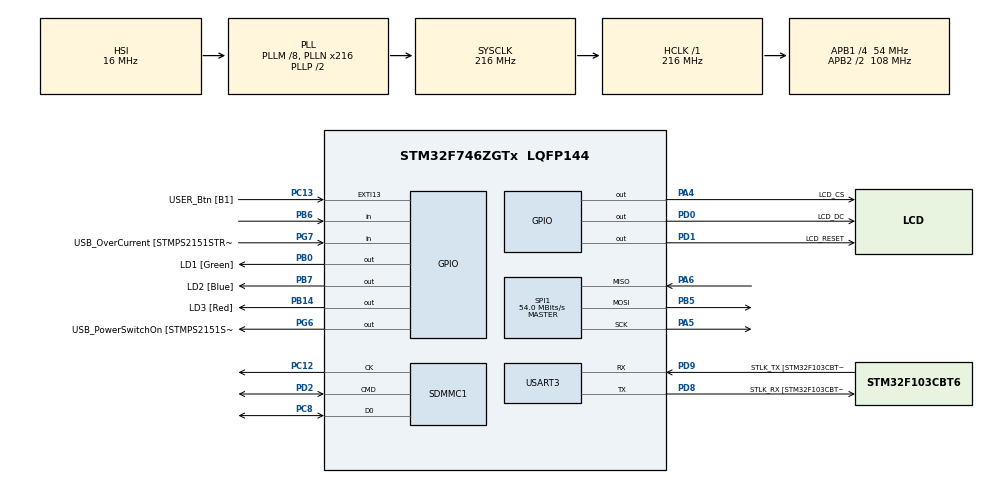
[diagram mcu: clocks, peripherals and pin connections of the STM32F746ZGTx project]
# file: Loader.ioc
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Dma.Request0=SDMMC1_RX
Dma.Request1=SDMMC1_TX
Dma.SDMMC1_RX.0.Direction=DMA_PERIPH_TO_MEMORY
Dma.SDMMC1_RX.0.FIFOMode=DMA_FIFOMODE_ENABLE
Dma.SDMMC1_RX.0.FIFOThreshold=DMA_FIFO_THRESHOLD_FULL
Dma.SDMMC1_RX.0.Instance=DMA2_Stream3
Dma.SDMMC1_RX.0.MemBurst=DMA_MBURST_INC4
Dma.SDMMC1_RX.0.MemDataAlignment=DMA_MDATAALIGN_WORD
Dma.SDMMC1_RX.0.MemInc=DMA_MINC_ENABLE
Dma.SDMMC1_RX.0.Mode=DMA_PFCTRL
Dma.SDMMC1_RX.0.PeriphBurst=DMA_PBURST_INC4
Dma.SDMMC1_RX.0.PeriphDataAlignment=DMA_PDATAALIGN_WORD
Dma.SDMMC1_RX.0.PeriphInc=DMA_PINC_DISABLE
Dma.SDMMC1_RX.0.Priority=DMA_PRIORITY_LOW
Dma.SDMMC1_TX.1.Direction=DMA_MEMORY_TO_PERIPH
Dma.SDMMC1_TX.1.FIFOMode=DMA_FIFOMODE_ENABLE
Dma.SDMMC1_TX.1.FIFOThreshold=DMA_FIFO_THRESHOLD_FULL
Dma.SDMMC1_TX.1.Instance=DMA2_Stream6
Dma.SDMMC1_TX.1.MemBurst=DMA_MBURST_INC4
Dma.SDMMC1_TX.1.MemDataAlignment=DMA_MDATAALIGN_WORD
Dma.SDMMC1_TX.1.MemInc=DMA_MINC_ENABLE
Dma.SDMMC1_TX.1.Mode=DMA_PFCTRL
Dma.SDMMC1_TX.1.PeriphBurst=DMA_PBURST_INC4
Dma.SDMMC1_TX.1.PeriphDataAlignment=DMA_PDATAALIGN_WORD
Dma.SDMMC1_TX.1.PeriphInc=DMA_PINC_DISABLE
Dma.SDMMC1_TX.1.Priority=DMA_PRIORITY_LOW
FATFS.BSP.number=1
FATFS._USE_MUTEX=1
FATFS0.BSP.STBoard=false
FATFS0.BSP.api=Unknown
FATFS0.BSP.instance=PB6
FATFS0.BSP.ip=GPIO
FATFS0.BSP.mode=Input
FATFS0.BSP.name=Detect_SDIO
FATFS0.BSP.solution=PB6
FREERTOS.Tasks01=defaultTask,24,4096,StartDefaultTask,Default,NULL,Static,defaultTaskBuffer,defaultTaskControlBlock
FREERTOS.configTOTAL_HEAP_SIZE=256*1024
FREERTOS.configUSE_PREEMPTION=1
Mcu.Family=STM32F7
Mcu.Name=STM32F746ZGTx
Mcu.Package=LQFP144
NVIC.DMA2_Stream3_IRQn=true\:5\:0\:false\:false\:true\:true\:false\:true\:true
NVIC.DMA2_Stream6_IRQn=true\:5\:0\:false\:false\:true\:true\:false\:true\:true
NVIC.PriorityGroup=NVIC_PRIORITYGROUP_4
NVIC.SDMMC1_IRQn=true\:5\:0\:false\:false\:true\:true\:true\:true\:true
NVIC.SPI1_IRQn=true\:15\:0\:true\:false\:true\:true\:true\:true\:true
PA1.GPIO_Label=RMII_REF_CLK [LAN8742A-CZ-TR_REFCLK0]
PA1.Signal=ETH_REF_CLK
PA10.GPIO_Label=USB_ID
PA10.Signal=USB_OTG_FS_ID
PA11.GPIO_Label=USB_DM
PA11.Signal=USB_OTG_FS_DM
PA12.GPIO_Label=USB_DP
PA12.Signal=USB_OTG_FS_DP
PA13.GPIO_Label=TMS
PA13.Signal=SYS_JTMS-SWDIO
PA14.GPIO_Label=TCK
PA14.Signal=SYS_JTCK-SWCLK
PA2.GPIO_Label=RMII_MDIO [LAN8742A-CZ-TR_MDIO]
PA2.Signal=ETH_MDIO
PA4.GPIO_Label=LCD_CS
PA4.Signal=GPIO_Output
PA5.Mode=Full_Duplex_Master
PA5.Signal=SPI1_SCK
PA6.Mode=Full_Duplex_Master
PA6.Signal=SPI1_MISO
PA7.GPIO_Label=RMII_CRS_DV [LAN8742A-CZ-TR_CRS_DV]
PA7.Signal=ETH_CRS_DV
PA8.GPIO_Label=USB_SOF [TP1]
PA8.Signal=USB_OTG_FS_SOF
PA9.GPIO_Label=USB_VBUS
PA9.Signal=USB_OTG_FS_VBUS
PB0.GPIO_Label=LD1 [Green]
PB0.Signal=GPIO_Output
PB13.GPIO_Label=RMII_TXD1 [LAN8742A-CZ-TR_TXD1]
PB13.Signal=ETH_TXD1
PB14.GPIO_Label=LD3 [Red]
PB14.Signal=GPIO_Output
PB3.GPIO_Label=SW0
PB3.Signal=SYS_JTDO-SWO
PB5.Mode=Full_Duplex_Master
PB5.Signal=SPI1_MOSI
PB6.GPIO_PuPd=GPIO_PULLDOWN
PB6.Signal=GPIO_Input
PB7.GPIO_Label=LD2 [Blue]
PB7.GPIO_PuPd=GPIO_NOPULL
PB7.Signal=GPIO_Output
PC1.GPIO_Label=RMII_MDC [LAN8742A-CZ-TR_MDC]
PC1.Signal=ETH_MDC
PC12.GPIO_PuPd=GPIO_PULLUP
PC12.Mode=SD_1_bit
PC12.Signal=SDMMC1_CK
PC13.GPIO_Label=USER_Btn [B1]
PC13.Signal=GPXTI13
PC14/OSC32_IN.Signal=RCC_OSC32_IN
PC15/OSC32_OUT.Signal=RCC_OSC32_OUT
PC4.GPIO_Label=RMII_RXD0 [LAN8742A-CZ-TR_RXD0]
PC4.Signal=ETH_RXD0
PC5.GPIO_Label=RMII_RXD1 [LAN8742A-CZ-TR_RXD1]
PC5.Signal=ETH_RXD1
PC8.GPIO_PuPd=GPIO_PULLUP
PC8.Mode=SD_1_bit
PC8.Signal=SDMMC1_D0
PD0.GPIO_Label=LCD_DC
PD0.Signal=GPIO_Output
PD1.GPIO_Label=LCD_RESET
PD1.Signal=GPIO_Output
PD2.GPIO_PuPd=GPIO_PULLUP
PD2.Mode=SD_1_bit
PD2.Signal=SDMMC1_CMD
PD8.GPIO_Label=STLK_RX [STM32F103CBT6_PA3]
PD8.Mode=Asynchronous
PD8.Signal=USART3_TX
PD9.GPIO_Label=STLK_TX [STM32F103CBT6_PA2]
PD9.Mode=Asynchronous
PD9.Signal=USART3_RX
PG11.GPIO_Label=RMII_TX_EN [LAN8742A-CZ-TR_TXEN]
PG11.Signal=ETH_TX_EN
PG13.GPIO_Label=RMII_TXD0 [LAN8742A-CZ-TR_TXD0]
PG13.Signal=ETH_TXD0
PG6.GPIO_Label=USB_PowerSwitchOn [STMPS2151STR_EN]
PG6.Signal=GPIO_Output
PG7.GPIO_Label=USB_OverCurrent [STMPS2151STR_FAULT]
PG7.Signal=GPIO_Input
PH0/OSC_IN.GPIO_Label=MCO [STM32F103CBT6_PA8]
PH0/OSC_IN.Signal=RCC_OSC_IN
PH1/OSC_OUT.Signal=RCC_OSC_OUT
ProjectManager.HeapSize=0x3F00
ProjectManager.StackSize=0xB00
ProjectManager.TargetToolchain=CMake
RCC.48MHZClocksFreq_Value=24000000
RCC.AHBFreq_Value=216000000
RCC.APB1CLKDivider=RCC_HCLK_DIV4
RCC.APB1Freq_Value=54000000
RCC.APB1TimFreq_Value=108000000
RCC.APB2CLKDivider=RCC_HCLK_DIV2
RCC.APB2Freq_Value=108000000
RCC.APB2TimFreq_Value=216000000
RCC.CortexFreq_Value=216000000
RCC.HCLKFreq_Value=216000000
RCC.HSE_VALUE=8000000
RCC.HSI_VALUE=16000000
RCC.LSE_VALUE=32768
RCC.PLLM=8
RCC.PLLMUL=RCC_PLL_MUL9
RCC.PLLN=216
RCC.PLLQ=9
RCC.PRESCALERUSB=RCC_USBCLKSOURCE_PLL_DIV1_5
RCC.SDMMCClockSelection=RCC_SDMMC1CLKSOURCE_CLK48
RCC.SYSCLKFreq_VALUE=216000000
RCC.SYSCLKSource=RCC_SYSCLKSOURCE_PLLCLK
RCC.SYSCLKSourceVirtual=RCC_SYSCLKSOURCE_PLLCLK
RCC.USBFreq_Value=48000000
RCC.VCOOutputFreq_Value=432000000
SDMMC1.ClockDiv=0
SDMMC1.ClockEdge=SDMMC_CLOCK_EDGE_RISING
SDMMC1.HardwareFlowControl=SDMMC_HARDWARE_FLOW_CONTROL_DISABLE
SPI1.BaudRatePrescaler=SPI_BAUDRATEPRESCALER_2
SPI1.CLKPhase=SPI_PHASE_1EDGE
SPI1.CLKPolarity=SPI_POLARITY_LOW
SPI1.CalculateBaudRate=54.0 MBits/s
SPI1.DataSize=SPI_DATASIZE_8BIT
SPI1.Direction=SPI_DIRECTION_2LINES
SPI1.Mode=SPI_MODE_MASTER
SPI1.NSSPMode=SPI_NSS_PULSE_DISABLE
SPI1.VirtualType=VM_MASTER
USART3.VirtualMode-Asynchronous=VM_ASYNC
VP_FATFS_VS_SDIO.Mode=SDIO
VP_FREERTOS_VS_CMSIS_V2.Mode=CMSIS_V2
board=NUCLEO-F746ZG

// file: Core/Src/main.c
/* USER CODE BEGIN Header */
/**
  ******************************************************************************
  * @file           : main.c
  * @brief          : Main program body
  ******************************************************************************
  * @attention
  *
  * Copyright (c) 2025 STMicroelectronics.
  * All rights reserved.
  *
  * This software is licensed under terms that can be found in the LICENSE file
  * in the root directory of this software component.
  * If no LICENSE file comes with this software, it is provided AS-IS.
  *
  ******************************************************************************
  */
/* USER CODE END Header */
#include "main.h"
#include "cmsis_os.h"
#include "dma.h"
#include "fatfs.h"
#include "sdmmc.h"
#include "spi.h"
#include "usart.h"
#include "gpio.h"

/* USER CODE BEGIN PV */
FATFS SDFatFs;
FIL MyFile;
FRESULT res;
UINT br;
char buf[16];
uint8_t workBuffer[_MAX_SS];
/* USER CODE END PV */

void SystemClock_Config(void);
void MX_FREERTOS_Init(void);

/* USER CODE BEGIN 0 */
int _write(int file, char *ptr, int len)
{
    HAL_UART_Transmit(&huart3, (uint8_t*)ptr, len, HAL_MAX_DELAY);
    return len;
}
/* USER CODE END 0 */

int main(void)
{

  /* MCU Configuration--------------------------------------------------------*/

  /* Reset of all peripherals, Initializes the Flash interface and the Systick. */
  HAL_Init();

  /* Configure the system clock */
  SystemClock_Config();

  /* Initialize all configured peripherals */
  MX_GPIO_Init();
  MX_DMA_Init();
  MX_USART3_UART_Init();
  MX_SDMMC1_SD_Init();
  MX_FATFS_Init();
  MX_SPI1_Init();
  /* USER CODE BEGIN 2 */

  // Krok 1: Montowanie

  //run_app_main();
  /* USER CODE END 2 */

  /* Init scheduler */
  osKernelInitialize();  /* Call init function for freertos objects (in cmsis_os2.c) */
  MX_FREERTOS_Init();

  /* Start scheduler */
  osKernelStart();

  /* We should never get here as control is now taken by the scheduler */

  /* Infinite loop */
  while (1)
  {

  }
}

void SystemClock_Config(void)
{
  RCC_OscInitTypeDef RCC_OscInitStruct = {0};
  RCC_ClkInitTypeDef RCC_ClkInitStruct = {0};

  /** Configure the main internal regulator output voltage
  */
  __HAL_RCC_PWR_CLK_ENABLE();
  __HAL_PWR_VOLTAGESCALING_CONFIG(PWR_REGULATOR_VOLTAGE_SCALE1);

  /** Initializes the RCC Oscillators according to the specified parameters
  * in the RCC_OscInitTypeDef structure.
  */
  RCC_OscInitStruct.OscillatorType = RCC_OSCILLATORTYPE_HSI;
  RCC_OscInitStruct.HSIState = RCC_HSI_ON;
  RCC_OscInitStruct.HSICalibrationValue = RCC_HSICALIBRATION_DEFAULT;
  RCC_OscInitStruct.PLL.PLLState = RCC_PLL_ON;
  RCC_OscInitStruct.PLL.PLLSource = RCC_PLLSOURCE_HSI;
  RCC_OscInitStruct.PLL.PLLM = 8;
  RCC_OscInitStruct.PLL.PLLN = 216;
  RCC_OscInitStruct.PLL.PLLP = RCC_PLLP_DIV2;
  RCC_OscInitStruct.PLL.PLLQ = 9;
  if (HAL_RCC_OscConfig(&RCC_OscInitStruct) != HAL_OK)
  {
    Error_Handler();
  }

  /** Activate the Over-Drive mode
  */
  if (HAL_PWREx_EnableOverDrive() != HAL_OK)
  {
    Error_Handler();
  }

  /** Initializes the CPU, AHB and APB buses clocks
  */
  RCC_ClkInitStruct.ClockType = RCC_CLOCKTYPE_HCLK|RCC_CLOCKTYPE_SYSCLK
                              |RCC_CLOCKTYPE_PCLK1|RCC_CLOCKTYPE_PCLK2;
  RCC_ClkInitStruct.SYSCLKSource = RCC_SYSCLKSOURCE_PLLCLK;
  RCC_ClkInitStruct.AHBCLKDivider = RCC_SYSCLK_DIV1;
  RCC_ClkInitStruct.APB1CLKDivider = RCC_HCLK_DIV4;
  RCC_ClkInitStruct.APB2CLKDivider = RCC_HCLK_DIV2;

  if (HAL_RCC_ClockConfig(&RCC_ClkInitStruct, FLASH_LATENCY_7) != HAL_OK)
  {
    Error_Handler();
  }
}

void Error_Handler(void)
{
  __disable_irq();
  while (1)
  {
  }
}

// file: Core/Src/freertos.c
/* USER CODE BEGIN Header */
/**
  ******************************************************************************
  * File Name          : freertos.c
  * Description        : Code for freertos applications
  ******************************************************************************
  * @attention
  *
  * Copyright (c) 2025 STMicroelectronics.
  * All rights reserved.
  *
  * This software is licensed under terms that can be found in the LICENSE file
  * in the root directory of this software component.
  * If no LICENSE file comes with this software, it is provided AS-IS.
  *
  ******************************************************************************
  */
/* USER CODE END Header */

#include "FreeRTOS.h"
#include "task.h"
#include "main.h"
#include "cmsis_os.h"

/* USER CODE BEGIN Includes */
#include <stdint.h>
#include <stdlib.h>
#include <stddef.h>
#include <stdio.h>
#include "fatfs.h"
#include "Loader.h"
#include <semphr.h>
/* USER CODE END Includes */

typedef StaticTask_t osStaticThreadDef_t;

/* USER CODE BEGIN Variables */
SemaphoreHandle_t SPI1_RDY = NULL;

/* USER CODE END Variables */
/* Definitions for defaultTask */
osThreadId_t defaultTaskHandle;
uint32_t defaultTaskBuffer[ 4096 ];
osStaticThreadDef_t defaultTaskControlBlock;
const osThreadAttr_t defaultTask_attributes = {
  .name = "defaultTask",
  .cb_mem = &defaultTaskControlBlock,
  .cb_size = sizeof(defaultTaskControlBlock),
  .stack_mem = &defaultTaskBuffer[0],
  .stack_size = sizeof(defaultTaskBuffer),
  .priority = (osPriority_t) osPriorityNormal,
};

/* USER CODE BEGIN FunctionPrototypes */

osThreadId_t Loader_TaskHandle;
uint32_t Loader_TaskBuffer[ 4096 ];
osStaticThreadDef_t Loader_TaskControlBlock;
const osThreadAttr_t Loader_Task_attributes = {
  .name = "Loader_Task",
  .cb_mem = &Loader_TaskControlBlock,
  .cb_size = sizeof(Loader_TaskControlBlock),
  .stack_mem = &Loader_TaskBuffer[0],
  .stack_size = sizeof(Loader_TaskBuffer),
  .priority = (osPriority_t) osPriorityNormal,
};

/* USER CODE END FunctionPrototypes */

void StartDefaultTask(void *argument);

void MX_FREERTOS_Init(void); /* (MISRA C 2004 rule 8.1) */

void MX_FREERTOS_Init(void) {
  /* USER CODE BEGIN Init */
	SPI1_RDY = xSemaphoreCreateBinary();
  /* USER CODE END Init */

  /* Create the thread(s) */
  /* creation of defaultTask */
  defaultTaskHandle = osThreadNew(StartDefaultTask, NULL, &defaultTask_attributes);

  /* USER CODE BEGIN RTOS_THREADS */
  /* add threads, ... */
  Loader_TaskHandle = osThreadNew(Loader_Task, NULL, &Loader_Task_attributes);

  /* USER CODE END RTOS_THREADS */

}

void StartDefaultTask(void *argument)
{
  for(;;)
  {
    osDelay(1);
  }
}
